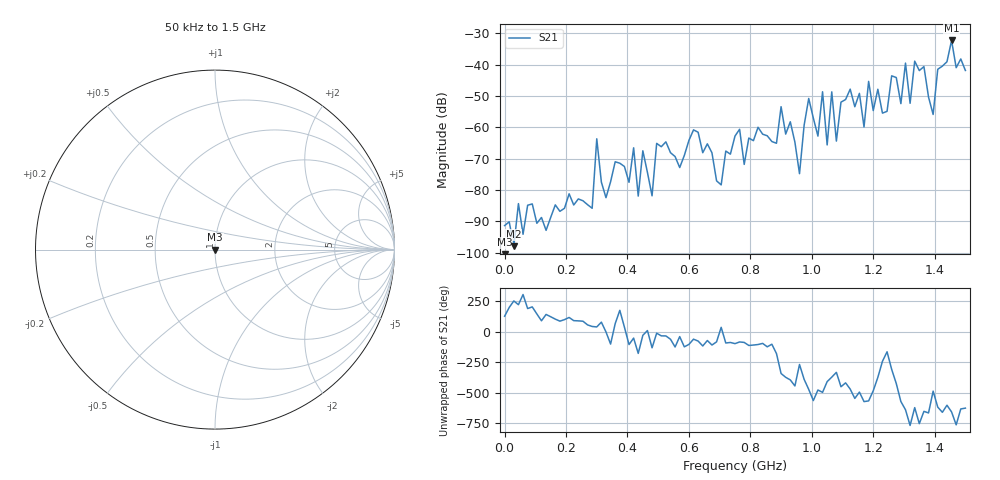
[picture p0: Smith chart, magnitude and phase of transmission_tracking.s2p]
! Created with skrf 1.8.0 (http://scikit-rf.org).
# Hz S RI R 50.0
!freq ReS11 ImS11 ReS21 ImS21 ReS12 ImS12 ReS22 ImS22
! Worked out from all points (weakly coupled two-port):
!   101 points, 50 kHz to 1.5 GHz, reference 50 ohm
!   highest |S21| = -32.30 dB at 1.455 GHz (marker M1); lowest = -97.9 dB at 30.05 MHz (marker M2)
!   lowest |S11| = - dB at 50 kHz (marker M3), VSWR 1.00, Z = 50 + j0 ohm
!   |S11| at or under -10 dB: start of sweep to end of sweep
!   S12 and S22 are empty: the file has one direction only
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50000  0 0  -1.69e-05 2.12e-05  0 0  0 0
3.0049e7  0 0  -3.54e-06 -1.22e-05  0 0  0 0
2.550415e8  0 0  2.65e-06 6.74e-05  0 0  0 0
3.0004e8  0 0  0.000495 0.00043  0 0  0 0
3.30039e8  0 0  7.55e-05 -1.27e-07  0 0  0 0
4.20036e8  0 0  0.000299 -0.000364  0 0  0 0
4.80034e8  0 0  -5.22e-05 -6.19e-05  0 0  0 0
5.10033e8  0 0  0.000415 -0.000261  0 0  0 0
6.30029e8  0 0  0.000216 -0.000806  0 0  0 0
7.050265e8  0 0  9.58e-05 7.36e-05  0 0  0 0
7.50025e8  0 0  -7.6e-05 -0.000722  0 0  0 0
9.0002e8  0 0  0.00201 0.000705  0 0  0 0
9.60018e8  0 0  -1.02e-05 0.000182  0 0  0 0
9.90017e8  0 0  -0.00103 -0.0027  0 0  0 0
1.005016e9  0 0  -0.0013 0.000534  0 0  0 0
1.170011e9  0 0  -0.00087 0.00052  0 0  0 0
1.18501e9  0 0  -0.00488 0.00231  0 0  0 0
1.260008e9  0 0  0.00396 0.00531  0 0  0 0
1.365004e9  0 0  0.0033 0.00869  0 0  0 0
1.395004e9  0 0  -0.000926 -0.00131  0 0  0 0
1.455002e9  0 0  0.0104 0.0219  0 0  0 0
1.5e9  0 0  -0.000801 0.00803  0 0  0 0
